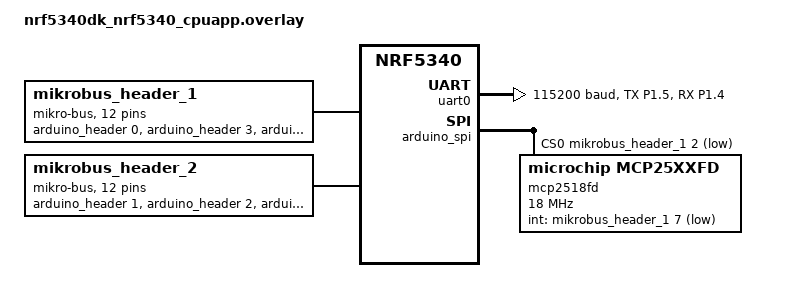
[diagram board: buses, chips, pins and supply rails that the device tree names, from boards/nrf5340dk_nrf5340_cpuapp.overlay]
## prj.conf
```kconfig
# nothing here
CONFIG_CAN_MCP25XXFD=y
CONFIG_SPI=y
CONFIG_CAN_AUTO_BUS_OFF_RECOVERY=y
CONFIG_CLOCK_CONTROL=y

CONFIG_POLL=y
CONFIG_CAN=y
CONFIG_CAN_INIT_PRIORITY=80
CONFIG_CAN_MAX_FILTER=5

CONFIG_SHELL=y
CONFIG_CAN_SHELL=y
CONFIG_DEVICE_SHELL=y

CONFIG_GPIO=y
CONFIG_STATS=y
CONFIG_STATS_NAMES=y
CONFIG_STATS_SHELL=y
CONFIG_CAN_STATS=y

CONFIG_CPLUSPLUS=y
CONFIG_STD_CPP17=y
CONFIG_LIB_CPLUSPLUS=y

# Logging
CONFIG_LOG=y
CONFIG_LOG_BUFFER_SIZE=2048

# Pin control
CONFIG_PINCTRL=y
```

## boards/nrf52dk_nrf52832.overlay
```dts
// build this for HMI with:
// 1. west build -b nrf52dk_nrf52832
// 2. flash:  west flash
```

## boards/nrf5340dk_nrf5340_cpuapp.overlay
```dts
/ {
	chosen {
		zephyr,console = &uart0;
		zephyr,canbus = &mcp2518fd;
	};
};

&uart0 {
	status = "okay";
	compatible = "nordic,nrf-uarte";
	current-speed = <115200>;
	pinctrl-0 = <&uart0_default>;
	pinctrl-1 = <&uart0_sleep>;
	pinctrl-names = "default", "sleep";
};

&pinctrl {
	uart0_default: uart0_default {
	  group1 {
		psels = <NRF_PSEL(UART_TX, 1, 5)>;
	  };
	  group2 {
		psels = <NRF_PSEL(UART_RX, 1, 4)>;
		bias-pull-up;
	  };
	};

	uart0_sleep: uart0_sleep {
	  group1 {
		psels = <NRF_PSEL(UART_TX, 1, 5)>,
				<NRF_PSEL(UART_RX, 1, 4)>;
		low-power-enable;
	  };
	};
};


/ {
	mikrobus_header_1: mikrobus-connector-1 {
		compatible = "mikro-bus";
		#gpio-cells = <2>;
		gpio-map-mask = <0xffffffff 0xffffffc0>;
		gpio-map-pass-thru = <0 0x3f>;
		gpio-map =	<0 0 &arduino_header 0 0>,	/* AN   -> A0  */
				<1 0 &arduino_header 3 0>,	/* RST  -> A3  */
				<2 0 &arduino_header 16 0>,	/* CS   -> D10 */
				<3 0 &arduino_header 19 0>,	/* SCK  -> D13 */
				<4 0 &arduino_header 18 0>,	/* MISO -> D12 */
				<5 0 &arduino_header 17 0>,	/* MOSI -> D11 */
								/* +3.3V */
								/* GND */
				<6 0 &arduino_header 12 0>,	/* PWM  -> D6  */
				<7 0 &arduino_header 8 0>,	/* INT  -> D2  */
				<8 0 &arduino_header 6 0>,	/* RX   -> D0  */
				<9 0 &arduino_header 7 0>,	/* TX   -> D1  */
				<10 0 &arduino_header 5 0>,	/* SCL  -> A5  */
				<11 0 &arduino_header 4 0>;	/* SDA  -> A4  */
								/* +5V */
								/* GND */
	};

	mikrobus_header_2: mikrobus-connector-2 {
		compatible = "mikro-bus";
		#gpio-cells = <2>;
		gpio-map-mask = <0xffffffff 0xffffffc0>;
		gpio-map-pass-thru = <0 0x3f>;
		gpio-map =	<0 0 &arduino_header 1 0>,	/* AN   -> A1  */
				<1 0 &arduino_header 2 0>,	/* RST  -> A2  */
				<2 0 &arduino_header 15 0>,	/* CS   -> D9 */
				<3 0 &arduino_header 19 0>,	/* SCK  -> D13 */
				<4 0 &arduino_header 18 0>,	/* MISO -> D12 */
				<5 0 &arduino_header 17 0>,	/* MOSI -> D11 */
								/* +3.3V */
								/* GND */
				<6 0 &arduino_header 11 0>,	/* PWM  -> D5  */
				<7 0 &arduino_header 9 0>,	/* INT  -> D3  */
				<8 0 &arduino_header 6 0>,	/* RX   -> D0  */
				<9 0 &arduino_header 7 0>,	/* TX   -> D1  */
				<10 0 &arduino_header 5 0>,	/* SCL  -> A5  */
				<11 0 &arduino_header 4 0>;	/* SDA  -> A4  */
								/* +5V */
								/* GND */
	};
};

mikrobus_spi: &arduino_spi {};
mikrobus_serial: &arduino_serial {};
mikrobus_i2c: &arduino_i2c {};

&mikrobus_spi {
	compatible = "nordic,nrf-spim";
	cs-gpios = <&mikrobus_header_1 2 GPIO_ACTIVE_LOW>;
	mcp2518fd: canfd@0 {
		compatible = "microchip,mcp25xxfd";
		status = "okay";

		spi-max-frequency = <18000000>;
		int-gpios = <&mikrobus_header_1 7 GPIO_ACTIVE_LOW>;
		reg = <0x0>;
		osc-freq = <40000000>;
		bus-speed = <500000>;
		bus-speed-data = <2000000>;
		prop-seg = <0>;
		phase-seg1 = <15>;
		phase-seg2 = <4>;
		sjw = <4>;
		prop-seg-data = <0>;
		phase-seg1-data = <7>;
		phase-seg2-data = <2>;
		sjw-data = <2>;
	};
};
```

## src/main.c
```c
/*
 * Copyright (c) 2012-2014 Wind River Systems, Inc.
 *
 * SPDX-License-Identifier: Apache-2.0
 */

#include <zephyr/kernel.h>
#include <zephyr/device.h>
#include <zephyr/logging/log.h>

LOG_MODULE_REGISTER(MAIN_DISPLAY_TEST, LOG_LEVEL_INF);


int main(void)
{
	LOG_INF("Hello World!");

	return 0;
}
```
